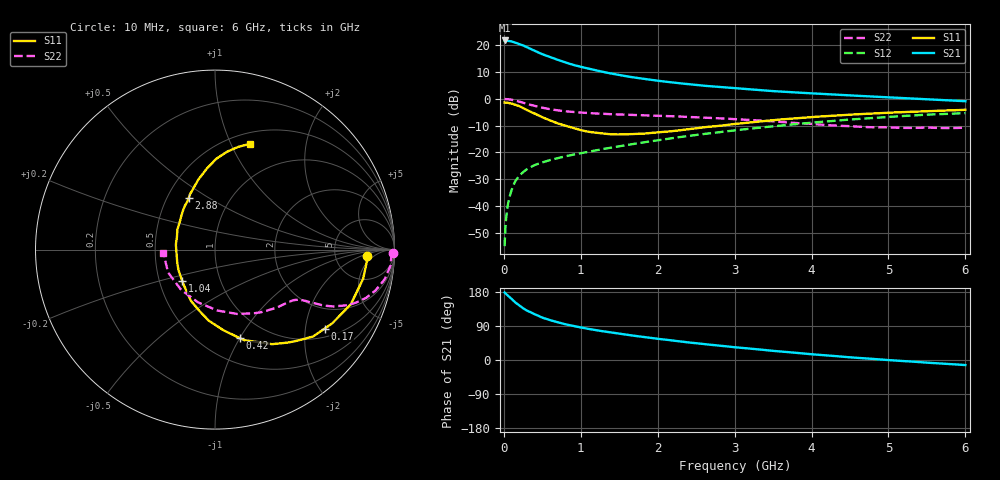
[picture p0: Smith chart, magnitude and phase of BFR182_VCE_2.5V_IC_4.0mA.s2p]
! Infineon Technologies  Discrete & RF Semiconductors
! BFR182
! VCE =  2.5 V,  IC =  4.0 mA
! Common Emitter S-Parameters:  Nov 2015
# GHz  S  MA  R  50
!  f  S11  S21  S12  S22
! GHz  MAG  ANG  MAG  ANG  MAG  ANG  MAG  ANG
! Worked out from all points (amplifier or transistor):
!   210 points, 10 MHz to 6 GHz, reference 50 ohm
!   highest |S21| = 21.7 dB at 10 MHz (marker M1)
!   |S21| within 3 dB of that: start of sweep to 336.8 MHz
!   unconditionally stable (mu >= 1): 1.164 GHz to 2.901 GHz
!   at 185 MHz: K = 0.28, MSG = 24.9 dB, |S12| = -29.3 dB
!   at 1.52 GHz: K = 1.06, MAG = 11.7 dB, |S12| = -17.6 dB
!   at 6 GHz: K = 0.89, MSG = 2.2 dB, |S12| = -5.4 dB
!   S11 on the Smith chart (normalised r, x): 10 MHz: 12, -3; 170 MHz: 1.26, -2.55; 420 MHz: 0.75, -1.00; 1.04 GHz: 0.66, -0.24; 2.88 GHz: 0.64, +0.41; 6 GHz: 0.62, +1.18
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0.01  0.8503 -2.5  12.14 178.1  0.0018 85.7  0.9918 -1.1
0.04  0.8424 -9.0  11.95 172.2  0.0081 84.1  0.9825 -4.1
0.1  0.8156 -21.9  11.68 161.2  0.0198 78.0  0.9597 -9.9
0.15  0.7716 -32.2  11.05 151.7  0.0294 72.8  0.9227 -14.3
0.17  0.7525 -35.8  10.78 148.8  0.0323 71.3  0.9069 -15.6
0.2  0.7298 -41.6  10.43 144.1  0.0366 69.4  0.8841 -17.7
0.26  0.657 -52.1  9.67 135.3  0.0441 65.2  0.8321 -21.0
0.3  0.6154 -58.9  9.096 130.3  0.0487 63.2  0.7994 -22.8
0.42  0.5127 -74.3  7.571 119.2  0.0596 59.5  0.7229 -25.9
0.5  0.452 -84.0  6.726 111.8  0.0652 57.9  0.6797 -27.3
0.6  0.3962 -95.3  5.958 105.0  0.0721 57.3  0.6363 -28.2
0.7  0.3479 -105.4  5.293 99.3  0.0784 57.2  0.606 -29.0
0.84  0.3031 -117.9  4.537 92.6  0.0872 57.2  0.5769 -29.6
1.02  0.2561 -134.6  3.863 85.1  0.0979 57.9  0.5503 -30.6
1.04  0.2524 -136.4  3.804 84.4  0.0992 58.0  0.5479 -30.7
1.4  0.2173 -168.0  2.931 72.3  0.1232 59.6  0.5148 -33.6
2.02  0.2384 150.7  2.146 55.5  0.1704 59.7  0.4805 -40.8
2.88  0.3223 117.0  1.618 36.3  0.2464 55.9  0.426 -55.6
3.1  0.3497 111.8  1.525 32.0  0.2671 54.2  0.4081 -60.5
4.1  0.4653 94.1  1.235 13.7  0.3678 44.7  0.3305 -91.4
5.1  0.5566 81.8  1.043 -1.5  0.4679 32.4  0.2887 -134.7
6  0.6211 71.7  0.898 -13.4  0.539 19.3  0.2889 -176.5
